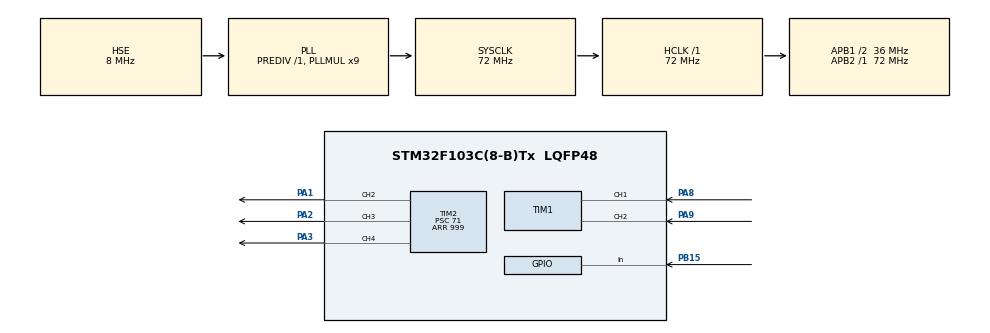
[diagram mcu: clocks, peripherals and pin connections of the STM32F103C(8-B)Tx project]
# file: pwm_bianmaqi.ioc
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Mcu.Family=STM32F1
Mcu.Name=STM32F103C(8-B)Tx
Mcu.Package=LQFP48
NVIC.PriorityGroup=NVIC_PRIORITYGROUP_4
PA1.Signal=S_TIM2_CH2
PA13.Mode=Serial_Wire
PA13.Signal=SYS_JTMS-SWDIO
PA14.Mode=Serial_Wire
PA14.Signal=SYS_JTCK-SWCLK
PA2.Signal=S_TIM2_CH3
PA3.Signal=S_TIM2_CH4
PA8.Signal=S_TIM1_CH1
PA9.Signal=S_TIM1_CH2
PB0.Signal=S_TIM3_CH3
PB15.GPIO_PuPd=GPIO_PULLUP
PB15.Signal=GPIO_Input
PD0-OSC_IN.Mode=HSE-External-Oscillator
PD0-OSC_IN.Signal=RCC_OSC_IN
PD1-OSC_OUT.Mode=HSE-External-Oscillator
PD1-OSC_OUT.Signal=RCC_OSC_OUT
ProjectManager.HeapSize=0x200
ProjectManager.StackSize=0x400
ProjectManager.TargetToolchain=CMake
RCC.AHBFreq_Value=72000000
RCC.APB1CLKDivider=RCC_HCLK_DIV2
RCC.APB1Freq_Value=36000000
RCC.APB1TimFreq_Value=72000000
RCC.APB2Freq_Value=72000000
RCC.APB2TimFreq_Value=72000000
RCC.HCLKFreq_Value=72000000
RCC.PLLMUL=RCC_PLL_MUL9
RCC.PLLSourceVirtual=RCC_PLLSOURCE_HSE
RCC.SYSCLKFreq_VALUE=72000000
RCC.SYSCLKSource=RCC_SYSCLKSOURCE_PLLCLK
RCC.USBFreq_Value=72000000
SH.S_TIM1_CH1.0=TIM1_CH1,Encoder_Interface
SH.S_TIM1_CH2.0=TIM1_CH2,Encoder_Interface
SH.S_TIM2_CH2.0=TIM2_CH2,PWM Generation2 CH2
SH.S_TIM2_CH3.0=TIM2_CH3,PWM Generation3 CH3
SH.S_TIM2_CH4.0=TIM2_CH4,PWM Generation4 CH4
SH.S_TIM3_CH3.0=TIM3_CH3
TIM1.IC1Filter=15
TIM1.IC2Filter=15
TIM2.Channel-PWM\ Generation2\ CH2=TIM_CHANNEL_2
TIM2.Channel-PWM\ Generation3\ CH3=TIM_CHANNEL_3
TIM2.Channel-PWM\ Generation4\ CH4=TIM_CHANNEL_4
TIM2.Period=999
TIM2.Prescaler=71
TIM2.Pulse-PWM\ Generation2\ CH2=700
VP_TIM2_VS_ClockSourceINT.Mode=Internal
board=custom

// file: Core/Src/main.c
/* USER CODE BEGIN Header */
/**
  ******************************************************************************
  * @file           : main.c
  * @brief          : Main program body
  ******************************************************************************
  * @attention
  *
  * Copyright (c) 2026 STMicroelectronics.
  * All rights reserved.
  *
  * This software is licensed under terms that can be found in the LICENSE file
  * in the root directory of this software component.
  * If no LICENSE file comes with this software, it is provided AS-IS.
  *
  ******************************************************************************
  */
/* USER CODE END Header */
#include "main.h"
#include "stm32f1xx_hal.h"
#include "stm32f1xx_hal_gpio.h"
#include "tim.h"
#include "gpio.h"

/* USER CODE BEGIN Includes */
#include <stdint.h>
#include <stdio.h>
#include <sys/_intsup.h>
#include "stm32f1xx_hal_tim.h"
#include "string.h"
#include "tim.h"
#include "gpio.h"
/* USER CODE END Includes */

/* USER CODE BEGIN PV */
uint8_t channels_flag = 0;
uint32_t channels[] = {TIM_CHANNEL_2, TIM_CHANNEL_3, TIM_CHANNEL_4};
/* USER CODE END PV */

void SystemClock_Config(void);

int main(void)
{

  /* USER CODE BEGIN 1 */
  int16_t last_counter = 0;
  int16_t brightness = 0;
  static uint32_t last_key_time = 0;
  static uint8_t last_key_state = 1;
  /* USER CODE END 1 */

  /* MCU Configuration--------------------------------------------------------*/

  /* Reset of all peripherals, Initializes the Flash interface and the Systick. */
  HAL_Init();

  /* Configure the system clock */
  SystemClock_Config();

  /* Initialize all configured peripherals */
  MX_GPIO_Init();
  MX_TIM1_Init();
  MX_TIM2_Init();
  /* USER CODE BEGIN 2 */

  HAL_TIM_Encoder_Start(&htim1,TIM_CHANNEL_1);
  HAL_TIM_Encoder_Start(&htim1,TIM_CHANNEL_2);
  HAL_TIM_PWM_Start(&htim2,TIM_CHANNEL_2);
  HAL_TIM_PWM_Start(&htim2,TIM_CHANNEL_3);
  HAL_TIM_PWM_Start(&htim2,TIM_CHANNEL_4);
  /* USER CODE END 2 */

  /* Infinite loop */
  /* USER CODE BEGIN WHILE */
  while (1)
  {
    uint8_t current_key_state = HAL_GPIO_ReadPin(GPIOB,GPIO_PIN_15);
    if(current_key_state == 0 && last_key_state == 1)
    {
      if(HAL_GetTick() - last_key_time > 20)
      {
          channels_flag++;
          if(channels_flag > 2)channels_flag = 0;
          brightness = 0;
          __HAL_TIM_SET_COUNTER(&htim1,0);
          last_counter = 0;
          for(int i = 0;i < 3;i++)
          {
            __HAL_TIM_SET_COMPARE(&htim2,channels[i],0);
          }
      }
      last_key_time = HAL_GetTick();
    }
    last_key_state = current_key_state;

    int16_t current_counter = (int16_t)__HAL_TIM_GET_COUNTER(&htim1);
    int16_t diff = current_counter - last_counter;
    last_counter = current_counter;
    if(diff != 0)
    {
      brightness += diff * 5;
      if(brightness > 1000)brightness = 1000;
      if(brightness < 0)brightness = 0;
    }
    __HAL_TIM_SET_COMPARE(&htim2,channels[channels_flag],brightness);
     HAL_Delay(1);
    /* USER CODE END WHILE */

  }
}

void SystemClock_Config(void)
{
  RCC_OscInitTypeDef RCC_OscInitStruct = {0};
  RCC_ClkInitTypeDef RCC_ClkInitStruct = {0};

  /** Initializes the RCC Oscillators according to the specified parameters
  * in the RCC_OscInitTypeDef structure.
  */
  RCC_OscInitStruct.OscillatorType = RCC_OSCILLATORTYPE_HSE;
  RCC_OscInitStruct.HSEState = RCC_HSE_ON;
  RCC_OscInitStruct.HSEPredivValue = RCC_HSE_PREDIV_DIV1;
  RCC_OscInitStruct.HSIState = RCC_HSI_ON;
  RCC_OscInitStruct.PLL.PLLState = RCC_PLL_ON;
  RCC_OscInitStruct.PLL.PLLSource = RCC_PLLSOURCE_HSE;
  RCC_OscInitStruct.PLL.PLLMUL = RCC_PLL_MUL9;
  if (HAL_RCC_OscConfig(&RCC_OscInitStruct) != HAL_OK)
  {
    Error_Handler();
  }

  /** Initializes the CPU, AHB and APB buses clocks
  */
  RCC_ClkInitStruct.ClockType = RCC_CLOCKTYPE_HCLK|RCC_CLOCKTYPE_SYSCLK
                              |RCC_CLOCKTYPE_PCLK1|RCC_CLOCKTYPE_PCLK2;
  RCC_ClkInitStruct.SYSCLKSource = RCC_SYSCLKSOURCE_PLLCLK;
  RCC_ClkInitStruct.AHBCLKDivider = RCC_SYSCLK_DIV1;
  RCC_ClkInitStruct.APB1CLKDivider = RCC_HCLK_DIV2;
  RCC_ClkInitStruct.APB2CLKDivider = RCC_HCLK_DIV1;

  if (HAL_RCC_ClockConfig(&RCC_ClkInitStruct, FLASH_LATENCY_2) != HAL_OK)
  {
    Error_Handler();
  }
}

void Error_Handler(void)
{
  __disable_irq();
  while (1)
  {
  }
}
